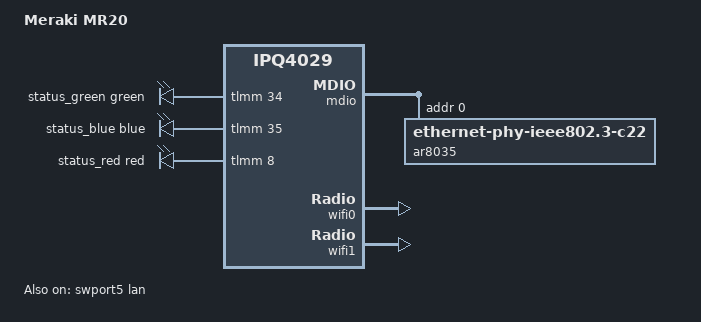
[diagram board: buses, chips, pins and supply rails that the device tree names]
// SPDX-License-Identifier: GPL-2.0-only
// Device Tree Source for Meraki MR20 (Grub) / Go GR10 (Maggot)

#include "qcom-ipq4029-meraki-underdog.dtsi"

/ {
	model = "Meraki MR20";
	compatible = "meraki,mr20";

	leds {
		compatible = "gpio-leds";

		status_green: led_green {
			color = <LED_COLOR_ID_GREEN>;
			gpios = <&tlmm 34 GPIO_ACTIVE_HIGH>;
		};

		status_blue: led_blue {
			color = <LED_COLOR_ID_BLUE>;
			gpios = <&tlmm 35 GPIO_ACTIVE_HIGH>;
		};

		status_red: led_red {
			color = <LED_COLOR_ID_RED>;
			gpios = <&tlmm 8 GPIO_ACTIVE_HIGH>;
		};

	};

	soc {
		ess_tcsr@1953000 {
			qcom,ess-interface-select = <TCSR_ESS_PSGMII_RGMII5>;
		};
	};
};

&mdio {
	ar8035: ethernet-phy@0 {
		compatible = "ethernet-phy-ieee802.3-c22";
		reg = <0>;
	};
};

&swport5 {
	status = "okay";
	label = "lan";
	phy-handle = <&ar8035>;
	phy-mode = "rgmii-id";
};

&wifi0 {
	status = "okay";
	qcom,ath10k-calibration-variant = "Meraki-underdog";
};

&wifi1 {
	status = "okay";
	qcom,ath10k-calibration-variant = "Meraki-underdog";
};
